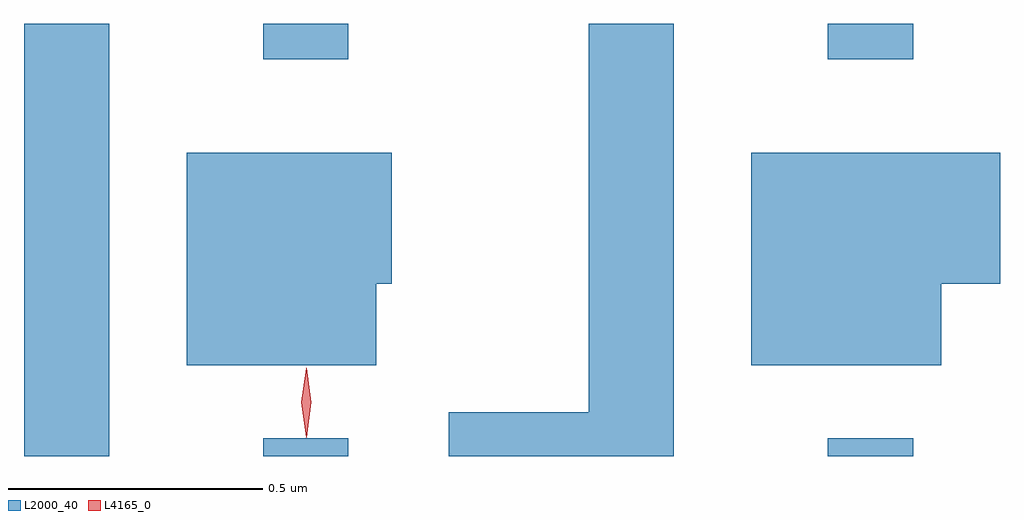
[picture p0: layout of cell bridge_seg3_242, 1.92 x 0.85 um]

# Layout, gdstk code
import gdstk
lib = gdstk.Library(unit=1e-6, precision=1e-09)
def R(c, l, rs):  # rectangles x0, y0, x1, y1
    for r in rs: c.add(gdstk.rectangle(r[:2], r[2:], *l))
def P(c, l, *ps):  # polygons
    for p in ps: c.add(gdstk.Polygon(p, *l))
L2000_40 = (2000, 40)
L4165_0 = (4165, 0)

bridge_seg3_242 = lib.new_cell('bridge_seg3_242')
R(bridge_seg3_242, L2000_40, [(981.811,1115.892,981.979,1116.743), (982.281,1115.892,982.449,1115.928), (983.391,1115.892,983.559,1115.928), (982.281,1116.673,982.449,1116.743), (983.391,1116.673,983.559,1116.743)])
P(bridge_seg3_242, L2000_40, [(983.089,1116.743),(982.921,1116.743),(982.921,1115.979),(982.646,1115.979),(982.646,1115.892),(983.089,1115.892)],
  [(983.614,1116.231),(983.73,1116.231),(983.73,1116.489),(983.241,1116.489),(983.241,1116.071),(983.614,1116.071)],
  [(982.504,1116.231),(982.534,1116.231),(982.534,1116.489),(982.131,1116.489),(982.131,1116.071),(982.504,1116.071)])
P(bridge_seg3_242, L4165_0, [(982.366,1115.929),(982.366,1115.93),(982.356,1115.998),(982.366,1116.065),(982.366,1116.066),(982.367,1116.065),(982.376,1115.998),(982.367,1115.93)])

lib.write_gds('bridge_seg3_242.gds')
